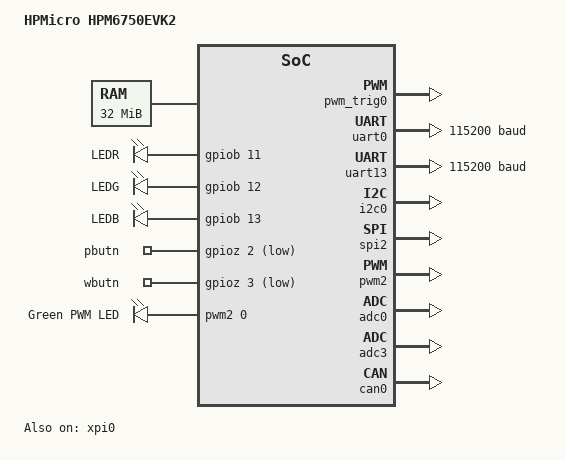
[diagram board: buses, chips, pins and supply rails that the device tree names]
/*
 * Copyright 2024 HPMicro
 * SPDX-License-Identifier: Apache-2.0
 */

/dts-v1/;

#include <hpmicro/hpm6750.dtsi>
#include "hpm6750evk2-pinctrl.dtsi"

/ {
	model = "HPMicro HPM6750EVK2";
	compatible = "HPMicro,hpm6750evk2";

	aliases {
		led0 = &led_r;
		led1 = &led_g;
		led2 = &led_b;
		sw0 = &pbutn;
		pwm-led0 = &pwm_led0;
		pwm-2 = &pwm2;
	};

	chosen {
		zephyr,console = &uart0;
		zephyr,shell-uart = &uart0;
		zephyr,sram = &sdram;
		zephyr,flash = &flash0;
		zephyr,code-partition = &slot0_partition;
        zephyr,canbus = &can0;
	};

	ext_ram: memory@40000000 {
		device_type = "memory";
		reg = <0x40000000 DT_SIZE_M(32)>;
		#address-cells = <1>;
		#size-cells = <1>;
		sdram: memory@40000000 {
			reg = <0x40000000 DT_SIZE_M(28)>;
		};
		sdram_noncache: memory@41c00000 {
			reg = <0x41c00000 DT_SIZE_M(4)>;
		};
	};

	leds {
		compatible = "gpio-leds";
		led_r: led_r {
			gpios = <&gpiob 11 (GPIO_PULL_DOWN | GPIO_ACTIVE_HIGH)>;
			label = "LEDR";
		};
		led_g: led_g {
			gpios = <&gpiob 12 (GPIO_PULL_DOWN | GPIO_ACTIVE_HIGH)>;
			label = "LEDG";
		};
		led_b: led_b {
			gpios = <&gpiob 13 (GPIO_PULL_DOWN | GPIO_ACTIVE_HIGH)>;
			label = "LEDB";
		};
	};

	gpio_keys {
		compatible = "gpio-keys";
		pbutn: pbutn {
			gpios = <&gpioz 2 (GPIO_PULL_UP | GPIO_ACTIVE_LOW)>;
		};
		wbutn: wbutn {
			gpios = <&gpioz 3 (GPIO_PULL_UP | GPIO_ACTIVE_LOW)>;
		};
	};

	pwmleds {
		compatible = "pwm-leds";
		pwm_led0: pwm_led_0 {
			pwms = <&pwm2 0 PWM_MSEC(20) PWM_POLARITY_NORMAL>;
			label = "Green PWM LED";
			status = "okay";
		};
	};
	pwm_trig {
		pwm_trig0: pwm_trig0 {
			pwms = <&pwm2 8 PWM_MSEC(20) PWM_TRIG_ENABLE>;
			label = "PWM TRIG ADC";
			status = "okay";
		};
	};
};

&uart0 {
	status = "okay";
	current-speed = <115200>;
	pinctrl-0 = <&pinmux_uart0>;
	pinctrl-names = "default";
	uart-idle-trgm-reg = <0xF022C000>;
	uart-idle-trgm-pin = <115>;
	uart-idle-trgm-input-src = <0x0B>;
	uart-idle-trgm-output-gptmr-in = <0x38>;
	uart-idle-trgm-output-gptmr-sync = <0x37>;
	uart-idle-gptmr-reg = <0xF3010000>;
	uart-idle-gptmr-clock-name = <18743311>;
	dmas = <&hdma 0 8>, <&hdma 1 9>;
	dma-names = "rx", "tx";
};

&uart13 {
	status = "okay";
	current-speed = <115200>;
	pinctrl-0 = <&pinmux_uart13>;
	pinctrl-names = "default";
	uart-idle-trgm-reg = <0xF022C000>;
	uart-idle-trgm-pin = <115>;
	uart-idle-trgm-input-src = <0x0B>;
	uart-idle-trgm-output-gptmr-in = <0x3b>;
	uart-idle-trgm-output-gptmr-sync = <0x3a>;
	uart-idle-gptmr-reg = <0xF3014000>;
	uart-idle-gptmr-clock-name = <18808848>;
	dmas = <&hdma 2 0x22>, <&hdma 3 0x23>;
	dma-names = "rx", "tx";
};

&gpiob {
	pinctrl-0 = <&pinmux_gpiob>;
	pinctrl-names = "default";
	status = "okay";
};

&gpioe {
	pinctrl-0 = <&pinmux_gpioe>;
	pinctrl-names = "default";
	status = "okay";
};

&gpioz {
	pinctrl-0 = <&pinmux_gpioz>;
	pinctrl-names = "default";
	status = "okay";	
};

&i2c0 {
	status = "okay";
	pinctrl-0 = <&pinmux_i2c0>;
	pinctrl-names = "default";
};
&spi2 {
	status = "okay";
	pinctrl-0 = <&pinmux_spi2>;
	pinctrl-names = "default";
	cs-gpios = <&gpioe 31 GPIO_ACTIVE_LOW>;
	/* HDMA channels 0 and 1, muxed to SPI2 RX and TX */
	dmas = <&hdma 0 4>, <&hdma 1 5>;
	dma-names = "rx", "tx";
};
&hdma {
	status = "okay";
};
&xdma {
	status = "okay";
};

&pwm2 {
	status = "okay";
	period-init = <50>;
	dead-zone-in-half-cycle = <100>;
	pinctrl-0 = <&pinmux_pwm2>;
	pinctrl-names = "default";
};

&adc0 {
	status = "okay";
	pinctrl-0 = <&pinmux_adc0>;
	pinctrl-names = "default";
	trig-base = <0xF020C000>;
	trig-num = <0x14>;
	trig-input-src = <48>;
};

&adc3 {
	status = "okay";
	pinctrl-0 = <&pinmux_adc3>;
	pinctrl-names = "default";
	trig-base = <0xF020C000>;
	trig-num = <0x14>;
	trig-input-src = <51>;
};

&xpi0 {
	status = "okay";
	flash0: flash@0 {
		compatible = "soc-nv-flash";
		reg = <0x80000000 DT_SIZE_M(16)>;
		status = "okay";
		erase-block-size = <4096>;
		write-block-size = <1>;
		
		partitions {
			compatible = "fixed-partitions";
			#address-cells = <1>;
			#size-cells = <1>;

			boot_partition: partition@0 {
				label = "mcuboot";
				reg = <0x0 0x3000>;
			};

			slot0_partition: partition@3000 {
				label = "image-0";
				reg = <0x3000 DT_SIZE_M(4)>;
			};
		};
	};
};

&can0 {
    status = "okay";
    pinctrl-0 = <&pinmux_can0>;
    pinctrl-names = "default";
    	can-transceiver {
		max-bitrate = <5000000>;
	};
};
